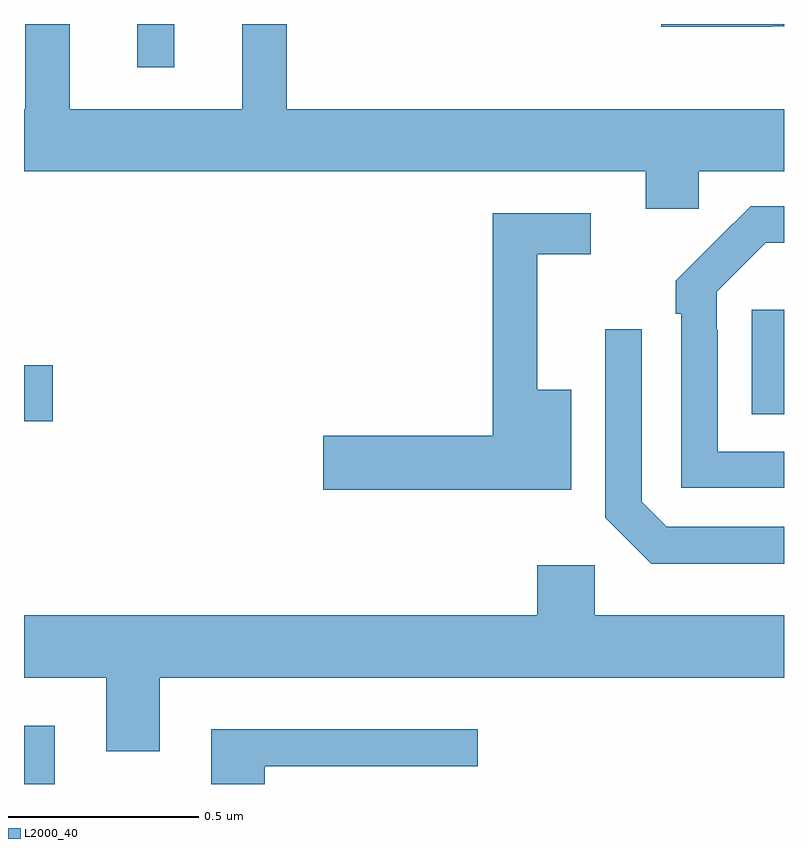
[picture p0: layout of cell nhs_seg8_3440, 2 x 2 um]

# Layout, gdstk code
import gdstk
lib = gdstk.Library(unit=1e-6, precision=1e-09)
def R(c, l, rs):  # rectangles x0, y0, x1, y1
    for r in rs: c.add(gdstk.rectangle(r[:2], r[2:], *l))
def P(c, l, *ps):  # polygons
    for p in ps: c.add(gdstk.Polygon(p, *l))
L2000_40 = (2000, 40)

nhs_seg8_3440 = lib.new_cell('nhs_seg8_3440')
R(nhs_seg8_3440, L2000_40, [(157,1102.9,157.081,1103.053), (157,1103.855,157.075,1104.002), (158.915,1103.873,159,1104.148), (157.298,1104.786,157.395,1104.9)])
P(nhs_seg8_3440, L2000_40, [(158.775,1104.512),(159,1104.512),(159,1104.676),(157.691,1104.676),(157.691,1104.9),(157.574,1104.9),(157.574,1104.676),(157.121,1104.676),(157.121,1104.9),(157.003,1104.9),(157.003,1104.676),(157,1104.676),(157,1104.512),(158.636,1104.512),(158.636,1104.414),(158.775,1104.414)],
  [(158.969,1104.894),(159,1104.894),(159,1104.9),(158.677,1104.9),(158.677,1104.893),(158.969,1104.893)],
  [(159,1103.775),(158.826,1103.775),(158.826,1104.095),(158.823,1104.095),(158.823,1104.195),(158.952,1104.324),(159,1104.324),(159,1104.42),(158.912,1104.42),(158.821,1104.329),(158.82,1104.33),(158.715,1104.225),(158.715,1104.137),(158.73,1104.137),(158.73,1103.679),(159,1103.679)],
  [(158.44,1103.938),(158.351,1103.938),(158.351,1104.294),(158.491,1104.294),(158.491,1104.402),(158.233,1104.402),(158.233,1103.816),(157.788,1103.816),(157.788,1103.674),(158.44,1103.674)],
  [(159,1103.577),(158.691,1103.577),(158.625,1103.643),(158.625,1104.097),(158.529,1104.097),(158.529,1103.601),(158.65,1103.48),(159,1103.48)],
  [(157.357,1103.18),(159,1103.18),(159,1103.344),(158.502,1103.344),(158.502,1103.476),(158.351,1103.476),(158.351,1103.344),(157,1103.344),(157,1103.18),(157.217,1103.18),(157.217,1102.986),(157.357,1102.986)],
  [(157.633,1102.947),(158.194,1102.947),(158.194,1103.044),(157.493,1103.044),(157.493,1102.9),(157.633,1102.9)])

lib.write_gds('nhs_seg8_3440.gds')
